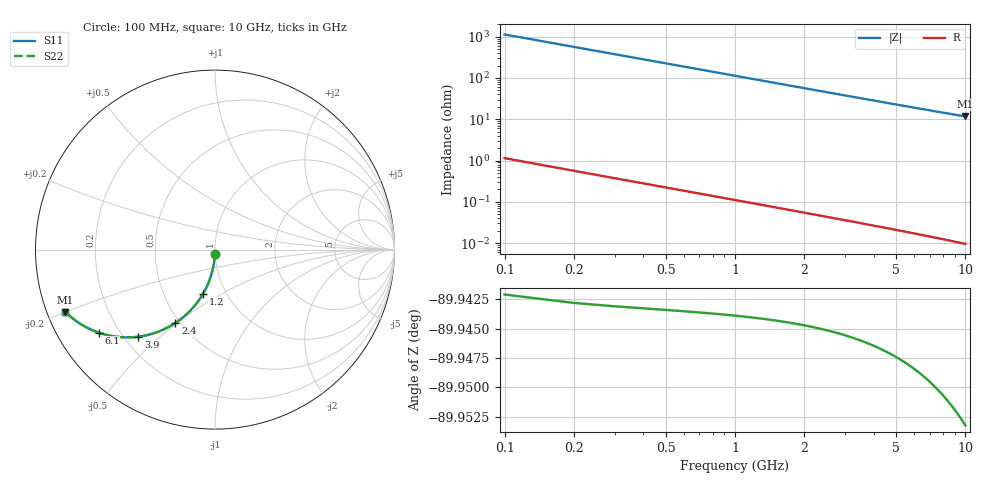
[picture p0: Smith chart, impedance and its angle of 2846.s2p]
# Hz S RI R 50.00
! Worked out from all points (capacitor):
!   100 points, 100 MHz to 10 GHz, reference 50 ohm
!   read as one part in shunt: C = 1.41 pF near 100 MHz
!   lowest |Z| = 11.7 ohm at 10 GHz (marker M1)
!   S11 on the Smith chart (normalised r, x): 100 MHz: 1.00, -0.04; 1.2 GHz: 0.78, -0.41; 2.4 GHz: 0.47, -0.49; 3.9 GHz: 0.26, -0.43; 6.1 GHz: 0.13, -0.32; 10 GHz: 0.05, -0.20
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1e8  -0.000433 -0.0219  0.9994 -0.0223  0.9994 -0.0223  -0.000433 -0.0219
2e8  -0.00192 -0.0437  0.9979 -0.0446  0.9979 -0.0446  -0.00192 -0.0437
3e8  -0.00437 -0.0654  0.9955 -0.0667  0.9955 -0.0667  -0.00437 -0.0654
4e8  -0.00777 -0.0868  0.9921 -0.0887  0.9921 -0.0887  -0.00777 -0.0868
5e8  -0.0121 -0.1081  0.9877 -0.1104  0.9877 -0.1104  -0.0121 -0.1081
6e8  -0.0174 -0.129  0.9825 -0.1318  0.9825 -0.1318  -0.0174 -0.129
7e8  -0.0235 -0.1495  0.9764 -0.1528  0.9764 -0.1528  -0.0235 -0.1495
9e8  -0.0382 -0.1893  0.9616 -0.1935  0.9616 -0.1935  -0.0382 -0.1893
1.2e9  -0.066 -0.2451  0.9339 -0.2507  0.9339 -0.2507  -0.066 -0.2451
1.5e9  -0.0994 -0.2953  0.9005 -0.3023  0.9005 -0.3023  -0.0994 -0.2953
1.8e9  -0.1371 -0.3393  0.8627 -0.3477  0.8627 -0.3477  -0.1371 -0.3393
2.1e9  -0.1778 -0.377  0.822 -0.3868  0.822 -0.3868  -0.1778 -0.377
2.4e9  -0.2202 -0.4084  0.7795 -0.4196  0.7795 -0.4196  -0.2202 -0.4084
2.9e9  -0.2921 -0.4475  0.7077 -0.461  0.7077 -0.461  -0.2921 -0.4475
3.4e9  -0.362 -0.4722  0.6377 -0.4881  0.6377 -0.4881  -0.362 -0.4722
3.9e9  -0.4277 -0.4851  0.572 -0.5034  0.572 -0.5034  -0.4277 -0.4851
5.1e9  -0.5616 -0.4836  0.4379 -0.5077  0.4379 -0.5077  -0.5616 -0.4836
6.1e9  -0.6477 -0.4626  0.3517 -0.4915  0.3517 -0.4915  -0.6477 -0.4626
6.7e9  -0.6896 -0.4461  0.3097 -0.4779  0.3097 -0.4779  -0.6896 -0.4461
7.5e9  -0.7363 -0.422  0.2628 -0.4578  0.2628 -0.4578  -0.7363 -0.422
8.4e9  -0.7786 -0.3942  0.2204 -0.4345  0.2204 -0.4345  -0.7786 -0.3942
1e10  -0.8339 -0.3468  0.1647 -0.3952  0.1647 -0.3952  -0.8339 -0.3468
